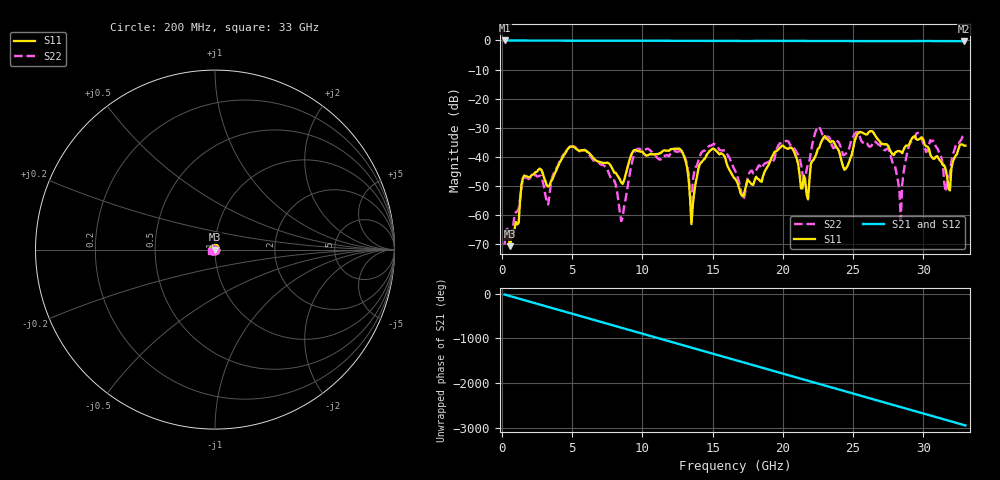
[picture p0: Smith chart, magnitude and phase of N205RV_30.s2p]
# GHZ S RI R 50
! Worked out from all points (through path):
!   329 points, 200 MHz to 33 GHz, reference 50 ohm
!   highest |S21| = -0.02 dB at 200 MHz (marker M1); lowest = -0.3 dB at 32.9 GHz (marker M2)
!   group delay of S21, straight-line fit = 248 ps
!   lowest |S11| = -70.7 dB at 600 MHz (marker M3), VSWR 1.00, Z = 50 + j0.022 ohm
!   |S11| at or under -10 dB: start of sweep to end of sweep
!   |S22| runs from -70.2 to -29.7 dB; largest |S21 - S12| = 0.0019
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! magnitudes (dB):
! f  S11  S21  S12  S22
! 200 MHz  -68.5  0.0  0.0  -70.2
! 600 MHz  -70.7  0.0  0.0  -67.4
! 1.6 GHz  -46.4  0.0  0.0  -47.2
! 3.3 GHz  -50.2  -0.1  -0.1  -56.4
! 5.7 GHz  -37.7  -0.1  -0.1  -37.9
! 8.5 GHz  -48.8  -0.1  -0.1  -62.1
! 9.5 GHz  -37.6  -0.1  -0.1  -38.0
! 11.2 GHz  -38.9  -0.1  -0.1  -40.9
! 12.9 GHz  -38.9  -0.2  -0.2  -38.8
! 13.5 GHz  -63.2  -0.2  -0.2  -56.4
! 14.8 GHz  -38.0  -0.2  -0.2  -36.2
! 16.6 GHz  -47.5  -0.2  -0.2  -44.7
! 17.2 GHz  -53.6  -0.2  -0.2  -54.7
! 20.3 GHz  -37.2  -0.2  -0.2  -34.5
! 21.5 GHz  -46.4  -0.2  -0.2  -49.6
! 22.1 GHz  -41.5  -0.2  -0.2  -35.8
! 27.6 GHz  -37.4  -0.2  -0.2  -38.3
! 28.4 GHz  -38.2  -0.2  -0.2  -61.6
! 29.5 GHz  -34.0  -0.2  -0.2  -32.0
! 31.6 GHz  -44.3  -0.2  -0.2  -52.0
! 32.9 GHz  -36.2  -0.3  -0.3  -32.6
! 33 GHz  -36.2  -0.3  -0.3  -32.4
